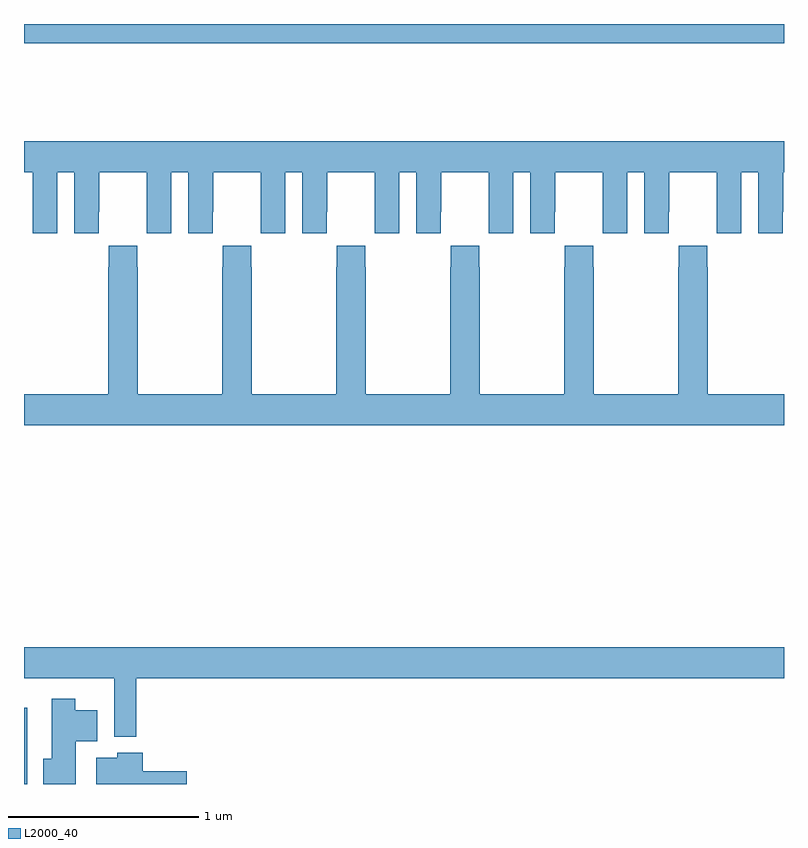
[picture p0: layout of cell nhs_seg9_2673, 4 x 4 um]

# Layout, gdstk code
import gdstk
lib = gdstk.Library(unit=1e-6, precision=1e-09)
def R(c, l, rs):  # rectangles x0, y0, x1, y1
    for r in rs: c.add(gdstk.rectangle(r[:2], r[2:], *l))
def P(c, l, *ps):  # polygons
    for p in ps: c.add(gdstk.Polygon(p, *l))
L2000_40 = (2000, 40)

nhs_seg9_2673 = lib.new_cell('nhs_seg9_2673')
R(nhs_seg9_2673, L2000_40, [(263,1226.5,263.016,1226.902), (263,1230.4,267,1230.5)])
P(nhs_seg9_2673, L2000_40, [(263.176,1229.72),(263.264,1229.72),(263.264,1229.4),(263.394,1229.4),(263.394,1229.512),(263.395,1229.512),(263.395,1229.72),(263.645,1229.72),(263.645,1229.512),(263.646,1229.512),(263.646,1229.4),(263.776,1229.4),(263.776,1229.72),(263.864,1229.72),(263.864,1229.4),(263.994,1229.4),(263.994,1229.512),(263.995,1229.512),(263.995,1229.72),(264.245,1229.72),(264.245,1229.512),(264.246,1229.512),(264.246,1229.4),(264.376,1229.4),(264.376,1229.72),(264.464,1229.72),(264.464,1229.4),(264.594,1229.4),(264.594,1229.512),(264.595,1229.512),(264.595,1229.72),(264.845,1229.72),(264.845,1229.512),(264.846,1229.512),(264.846,1229.4),(264.976,1229.4),(264.976,1229.72),(265.064,1229.72),(265.064,1229.4),(265.194,1229.4),(265.194,1229.512),(265.195,1229.512),(265.195,1229.72),(265.445,1229.72),(265.445,1229.512),(265.446,1229.512),(265.446,1229.4),(265.576,1229.4),(265.576,1229.72),(265.664,1229.72),(265.664,1229.4),(265.794,1229.4),(265.794,1229.512),(265.795,1229.512),(265.795,1229.72),(266.045,1229.72),(266.045,1229.512),(266.046,1229.512),(266.046,1229.4),(266.176,1229.4),(266.176,1229.72),(266.264,1229.72),(266.264,1229.4),(266.394,1229.4),(266.394,1229.512),(266.395,1229.512),(266.395,1229.72),(266.645,1229.72),(266.645,1229.512),(266.646,1229.512),(266.646,1229.4),(266.776,1229.4),(266.776,1229.72),(266.864,1229.72),(266.864,1229.4),(266.994,1229.4),(266.994,1229.512),(266.995,1229.512),(266.995,1229.72),(267,1229.72),(267,1229.884),(263,1229.884),(263,1229.72),(263.045,1229.72),(263.045,1229.512),(263.046,1229.512),(263.046,1229.4),(263.176,1229.4)],
  [(267,1228.552),(266.598,1228.552),(266.598,1229.219),(266.595,1229.219),(266.595,1229.332),(266.445,1229.332),(266.445,1229.219),(266.443,1229.219),(266.443,1228.552),(265.998,1228.552),(265.998,1229.219),(265.995,1229.219),(265.995,1229.332),(265.845,1229.332),(265.845,1229.219),(265.843,1229.219),(265.843,1228.552),(265.398,1228.552),(265.398,1229.219),(265.395,1229.219),(265.395,1229.332),(265.245,1229.332),(265.245,1229.219),(265.243,1229.219),(265.243,1228.552),(264.798,1228.552),(264.798,1229.219),(264.795,1229.219),(264.795,1229.332),(264.645,1229.332),(264.645,1229.219),(264.643,1229.219),(264.643,1228.552),(264.198,1228.552),(264.198,1229.219),(264.195,1229.219),(264.195,1229.332),(264.045,1229.332),(264.045,1229.219),(264.043,1229.219),(264.043,1228.552),(263.598,1228.552),(263.598,1229.219),(263.595,1229.219),(263.595,1229.332),(263.445,1229.332),(263.445,1229.219),(263.443,1229.219),(263.443,1228.552),(263,1228.552),(263,1228.388),(267,1228.388)],
  [(263.591,1227.056),(267,1227.056),(267,1227.22),(263,1227.22),(263,1227.056),(263.475,1227.056),(263.475,1226.75),(263.591,1226.75)],
  [(263.272,1226.726),(263.386,1226.726),(263.386,1226.887),(263.269,1226.887),(263.269,1226.95),(263.147,1226.95),(263.147,1226.634),(263.101,1226.634),(263.101,1226.5),(263.272,1226.5)],
  [(263.857,1226.567),(263.624,1226.567),(263.624,1226.665),(263.49,1226.665),(263.49,1226.638),(263.381,1226.638),(263.381,1226.5),(263.857,1226.5)])

lib.write_gds('nhs_seg9_2673.gds')
